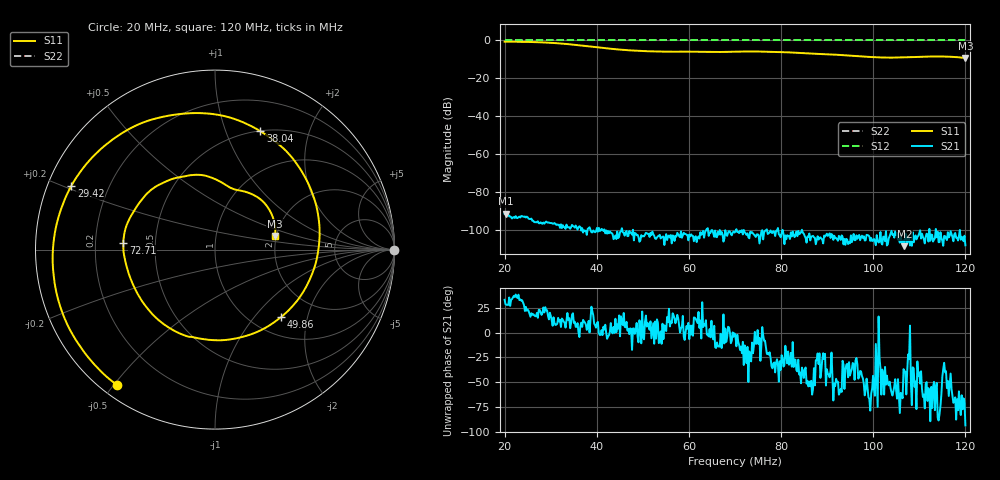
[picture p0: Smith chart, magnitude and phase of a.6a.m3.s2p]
! Anritsu VNA Master:  Model: MS2036C/10/77
! SN:  1601066
! /bd0/18may07/256.ew.m3.s2p
! Existing Calibration Information:
! TYPE:  Current Settings,  Active Cal Settings
! TIME:  05/07/2018 11:54:01 AM,  05/07/2018 11:47:21 AM
! INTERNAL TEMP:  52.8 C,  52.0 C
! # POINTS:  500,  500
! START FREQ:  20.000 MHz,  20.000 MHz
! STOP FREQ:  120.000 MHz,  120.000 MHz
! SOURCE POWER:  High,  High
! IFBW:  50 Hz,  50 Hz
! AVG FACTOR:  1 ,  1
! REF PLANE 1:  0 mm,  0 mm
! REF PLANE 2:  0 mm,  0 mm
! CAL TYPE:  Full S11,  Full S11
! CAL METHOD:  SOLT,  SOLT
! CAL LINE TYPE:  Coax,  Coax
! DUT PORT 1:  K-Conn(F),  K-Conn(F)
! DUT PORT 2:  K-Conn(F),  K-Conn(F)
! CAL STATUS:  OK: Accuracy High,  --
# GHZ S DB R 50.0
! FREQ.GHZ  S11DB  S11A  S21DB  S21A  S12DB  S12A  S22DB  S22A
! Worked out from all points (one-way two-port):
!   500 points, 20 MHz to 120 MHz, reference 50 ohm
!   highest |S21| = -91.37 dB at 20.2 MHz (marker M1); lowest = -108.6 dB at 106.8 MHz (marker M2)
!   lowest |S11| = -9.3 dB at 120 MHz (marker M3), VSWR 2.04, Z = 98.3 + j16.8 ohm
!   |S11| at or under -10 dB: nowhere
!   |S22| runs from 0.0 to 0.0 dB; largest |S21 - S12| = 1
!   S11 on the Smith chart (normalised r, x): 20 MHz: 0.05, -0.51; 29.42 MHz: 0.07, +0.21; 38.04 MHz: 0.50, +1.33; 49.86 MHz: 1.33, -1.39; 72.71 MHz: 0.32, +0.03; 120 MHz: 1.97, +0.34
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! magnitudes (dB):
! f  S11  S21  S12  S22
! 20 MHz  -0.6  -91.5  0.0  0.0
! 20.2 MHz  -0.6  -91.4  0.0  0.0
! 25.01 MHz  -0.8  -93.3  0.0  0.0
! 29.42 MHz  -1.2  -96.1  0.0  0.0
! 32.83 MHz  -1.7  -98.4  0.0  0.0
! 36.83 MHz  -2.7  -99.0  0.0  0.0
! 38.04 MHz  -3.0  -99.4  0.0  0.0
! 44.65 MHz  -4.8  -104.3  0.0  0.0
! 49.86 MHz  -5.6  -103.4  0.0  0.0
! 53.47 MHz  -5.9  -103.0  0.0  0.0
! 66.09 MHz  -6.1  -103.8  0.0  0.0
! 70.1 MHz  -6.0  -100.8  0.0  0.0
! 72.71 MHz  -5.8  -101.8  0.0  0.0
! 80.92 MHz  -6.2  -102.9  0.0  0.0
! 86.73 MHz  -6.9  -103.3  0.0  0.0
! 91.54 MHz  -7.5  -103.0  0.0  0.0
! 98.36 MHz  -8.6  -105.4  0.0  0.0
! 103.4 MHz  -9.0  -104.4  0.0  0.0
! 106.8 MHz  -8.9  -108.6  0.0  0.0
! 114.6 MHz  -8.5  -101.2  0.0  0.0
! 117.6 MHz  -8.7  -102.3  0.0  0.0
! 120 MHz  -9.3  -108.1  0.0  0.0
